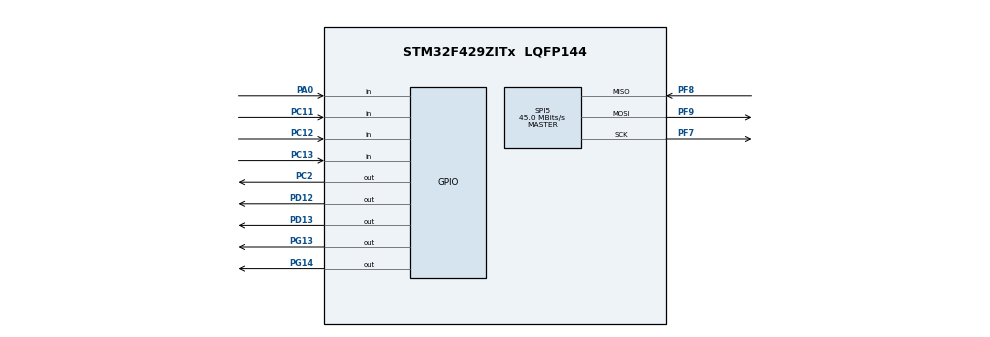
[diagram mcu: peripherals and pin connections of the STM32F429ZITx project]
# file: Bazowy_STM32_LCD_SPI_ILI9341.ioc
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Dma.Request0=SPI5_TX
Dma.SPI5_TX.0.Direction=DMA_MEMORY_TO_PERIPH
Dma.SPI5_TX.0.FIFOMode=DMA_FIFOMODE_DISABLE
Dma.SPI5_TX.0.Instance=DMA2_Stream4
Dma.SPI5_TX.0.MemDataAlignment=DMA_MDATAALIGN_BYTE
Dma.SPI5_TX.0.MemInc=DMA_MINC_ENABLE
Dma.SPI5_TX.0.Mode=DMA_CIRCULAR
Dma.SPI5_TX.0.PeriphDataAlignment=DMA_PDATAALIGN_BYTE
Dma.SPI5_TX.0.PeriphInc=DMA_PINC_DISABLE
Dma.SPI5_TX.0.Priority=DMA_PRIORITY_LOW
FREERTOS.BinarySemaphores01=BinarySem01,Dynamic,NULL
FREERTOS.Tasks01=LCD_Task,8,1664,StartLCDTask,Default,NULL,Dynamic,NULL,NULL;myTask04,16,128,StartTask04,Default,NULL,Dynamic,NULL,NULL;myTask05,17,128,StartTask05,Default,NULL,Dynamic,NULL,NULL;LCD_Task_cd,9,1664,StartLCDTask_cd,Default,NULL,Dynamic,NULL,NULL
FREERTOS.configUSE_NEWLIB_REENTRANT=1
Mcu.Family=STM32F4
Mcu.Name=STM32F429ZITx
Mcu.Package=LQFP144
NVIC.DMA2_Stream4_IRQn=true\:5\:0\:false\:false\:true\:true\:false\:true\:true
NVIC.PriorityGroup=NVIC_PRIORITYGROUP_4
PA0/WKUP.Signal=GPIO_Input
PA13.Mode=Serial_Wire
PA13.Signal=SYS_JTMS-SWDIO
PA14.Mode=Serial_Wire
PA14.Signal=SYS_JTCK-SWCLK
PC11.GPIO_PuPd=GPIO_PULLUP
PC11.Signal=GPIO_Input
PC12.GPIO_PuPd=GPIO_PULLUP
PC12.Signal=GPIO_Input
PC13.GPIO_PuPd=GPIO_PULLUP
PC13.Signal=GPIO_Input
PC2.GPIO_Speed=GPIO_SPEED_FREQ_VERY_HIGH
PC2.Signal=GPIO_Output
PD12.GPIO_Speed=GPIO_SPEED_FREQ_VERY_HIGH
PD12.Signal=GPIO_Output
PD13.GPIO_Speed=GPIO_SPEED_FREQ_VERY_HIGH
PD13.Signal=GPIO_Output
PF7.Mode=Full_Duplex_Master
PF7.Signal=SPI5_SCK
PF8.Mode=Full_Duplex_Master
PF8.Signal=SPI5_MISO
PF9.Mode=Full_Duplex_Master
PF9.Signal=SPI5_MOSI
PG13.Signal=GPIO_Output
PG14.Signal=GPIO_Output
PH0/OSC_IN.Mode=HSE-External-Oscillator
PH0/OSC_IN.Signal=RCC_OSC_IN
PH1/OSC_OUT.Mode=HSE-External-Oscillator
PH1/OSC_OUT.Signal=RCC_OSC_OUT
ProjectManager.HeapSize=0x200
ProjectManager.StackSize=0x400
ProjectManager.TargetToolchain=STM32CubeIDE
RCC.48MHZClocksFreq_Value=45000000
RCC.AHBFreq_Value=180000000
RCC.APB1CLKDivider=RCC_HCLK_DIV4
RCC.APB1Freq_Value=45000000
RCC.APB1TimFreq_Value=90000000
RCC.APB2CLKDivider=RCC_HCLK_DIV2
RCC.APB2Freq_Value=90000000
RCC.APB2TimFreq_Value=180000000
RCC.CortexFreq_Value=180000000
RCC.HCLKFreq_Value=180000000
RCC.HSE_VALUE=8000000
RCC.HSI_VALUE=16000000
RCC.LSE_VALUE=32768
RCC.PLLM=4
RCC.PLLN=180
RCC.PLLQ=8
RCC.PLLSourceVirtual=RCC_PLLSOURCE_HSE
RCC.SYSCLKFreq_VALUE=180000000
RCC.SYSCLKSource=RCC_SYSCLKSOURCE_PLLCLK
RCC.VCOOutputFreq_Value=360000000
SPI5.BaudRatePrescaler=SPI_BAUDRATEPRESCALER_2
SPI5.CalculateBaudRate=45.0 MBits/s
SPI5.Direction=SPI_DIRECTION_2LINES
SPI5.Mode=SPI_MODE_MASTER
SPI5.VirtualType=VM_MASTER
VP_FREERTOS_VS_CMSIS_V2.Mode=CMSIS_V2
VP_RNG_VS_RNG.Mode=RNG_Activate
board=custom

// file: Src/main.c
/* USER CODE BEGIN Header */
/**
  ******************************************************************************
  * @file           : main.c
  * @brief          : Main program body
  ******************************************************************************
  * @attention
  *
  * <h2><center>&copy; Copyright (c) 2020 STMicroelectronics.
  * All rights reserved.</center></h2>
  *
  * This software component is licensed by ST under BSD 3-Clause license,
  * the "License"; You may not use this file except in compliance with the
  * License. You may obtain a copy of the License at:
  *                        opensource.org/licenses/BSD-3-Clause
  *
  ******************************************************************************
  */
/* USER CODE END Header */
#include "main.h"
#include "cmsis_os.h"

/* USER CODE BEGIN Includes */
#include "ll_spi_ili9341.h"
#include "reg2.h"
#include "myfunctions.h"
/* USER CODE END Includes */

/* USER CODE BEGIN PD */
extern bool led_inited;
/* USER CODE END PD */

/* USER CODE BEGIN PM */
PID_s pid;
Inercja_s in3;
Inercja_s in4;
wykres_s entry;
wykres_s out;
float tp = 0.1;
int err = 0;
wykres_s errdr;
//extern const uint16_t jajko[57600];
/* USER CODE END PM */

/* Definitions for LCD_Task */
osThreadId_t LCD_TaskHandle;
const osThreadAttr_t LCD_Task_attributes = {
  .name = "LCD_Task",
  .stack_size = 1664 * 4,
  .priority = (osPriority_t) osPriorityLow,
};
/* Definitions for myTask04 */
osThreadId_t myTask04Handle;
const osThreadAttr_t myTask04_attributes = {
  .name = "myTask04",
  .stack_size = 128 * 4,
  .priority = (osPriority_t) osPriorityBelowNormal,
};
/* Definitions for myTask05 */
osThreadId_t myTask05Handle;
const osThreadAttr_t myTask05_attributes = {
  .name = "myTask05",
  .stack_size = 128 * 4,
  .priority = (osPriority_t) osPriorityBelowNormal1,
};
/* Definitions for LCD_Task_cd */
osThreadId_t LCD_Task_cdHandle;
const osThreadAttr_t LCD_Task_cd_attributes = {
  .name = "LCD_Task_cd",
  .stack_size = 1664 * 4,
  .priority = (osPriority_t) osPriorityLow1,
};
/* Definitions for BinarySem01 */
osSemaphoreId_t BinarySem01Handle;
const osSemaphoreAttr_t BinarySem01_attributes = {
  .name = "BinarySem01"
};
/* USER CODE BEGIN PV */
uint8_t DmaSpiCnt=1;

int x = 120, y = 160; // Skladowe x,y polozenia kwadratu
int x_old = 120, y_old = 160;
int dx = 1, dy = 1; // Skladowe wektora predkosci dx, dy

unsigned char *ptr;
unsigned char napis[] = {"Press the blue button..."};
int dl_n = 24;
unsigned int nx = 0;
unsigned int ny = 280;
unsigned int  key;

/* USER CODE END PV */

void SystemClock_Config(void);
static void MX_GPIO_Init(void);
static void MX_DMA_Init(void);
static void MX_RNG_Init(void);
static void MX_SPI5_Init(void);
void StartLCDTask(void *argument);
void StartTask04(void *argument);
void StartTask05(void *argument);
void StartLCDTask_cd(void *argument);

/* USER CODE BEGIN PFP */
void move_square_C(void);

/* USER CODE END PFP */

/* USER CODE BEGIN 0 */
void move_square_C(){
//Aktualizacja po│ozenia na podstawie wektora predkosci
		x+=dx;
		y+=dy;
//Ograniczenie obszaru poruszania kwadratem w obrebie LCD
		if (x <= 1 || x >= 240 - 34)
			dx = -dx;
		if (y <= 1 || y >= 320 - 34)
			dy = -dy;
}
//#define jajko_adres 0x0800F000
//void Flash_Write(void)
//{
//    // 1. Odblokowanie Flash
//    LL_FLASH_Unlock();
//
//    // 2. Kasowanie sektora (np. sektor 11 dla STM32F407 z 512KB Flash)
//    while (LL_FLASH_IsActiveFlag_BSY());
//    LL_FLASH_Erase_Sector(LL_FLASH_SECTOR_11, LL_FLASH_CURRENTPAGE);
//    while (LL_FLASH_IsActiveFlag_BSY());
//
//    // 3. Zapis słowa (32-bit)
//    LL_FLASH_Program(LL_FLASH_PROGRAM_WORD, s, DATA_32);
//    while (LL_FLASH_IsActiveFlag_BSY());
//
//    // 4. Zablokowanie Flash
//    LL_FLASH_Lock();
//}

/* USER CODE END 0 */

int main(void)
{
  /* USER CODE BEGIN 1 */

	ptr = napis;
  /* USER CODE END 1 */

  /* MCU Configuration--------------------------------------------------------*/

  /* Reset of all peripherals, Initializes the Flash interface and the Systick. */
  LL_APB2_GRP1_EnableClock(LL_APB2_GRP1_PERIPH_SYSCFG);
  LL_APB1_GRP1_EnableClock(LL_APB1_GRP1_PERIPH_PWR);

  /* System interrupt init*/
  NVIC_SetPriorityGrouping(NVIC_PRIORITYGROUP_4);

  /* PendSV_IRQn interrupt configuration */
  NVIC_SetPriority(PendSV_IRQn, NVIC_EncodePriority(NVIC_GetPriorityGrouping(),15, 0));
  /* SysTick_IRQn interrupt configuration */
  NVIC_SetPriority(SysTick_IRQn, NVIC_EncodePriority(NVIC_GetPriorityGrouping(),15, 0));

  /* Configure the system clock */
  SystemClock_Config();

  /* Initialize all configured peripherals */
  MX_GPIO_Init();
  MX_DMA_Init();
  MX_RNG_Init();
  MX_SPI5_Init();
  /* USER CODE BEGIN 2 */
  LL_DMA_DisableStream(DMA2, LL_DMA_STREAM_4);
  LL_DMA_ClearFlag_TC4(DMA2);
  LL_DMA_ClearFlag_TE4(DMA2);
  LL_SPI_EnableDMAReq_TX(SPI5);
  LL_DMA_EnableIT_TC(DMA2, LL_DMA_STREAM_4);
  LL_DMA_EnableIT_TE(DMA2, LL_DMA_STREAM_4);
  LL_SPI_Enable(SPI5);

  /* USER CODE END 2 */

  /* Init scheduler */
  osKernelInitialize();

  /* Create the semaphores(s) */
  /* creation of BinarySem01 */
  BinarySem01Handle = osSemaphoreNew(1, 1, &BinarySem01_attributes);

  /* Create the thread(s) */
  /* creation of LCD_Task */
  LCD_TaskHandle = osThreadNew(StartLCDTask, NULL, &LCD_Task_attributes);

  /* creation of myTask04 */
  myTask04Handle = osThreadNew(StartTask04, NULL, &myTask04_attributes);

  /* creation of myTask05 */
  myTask05Handle = osThreadNew(StartTask05, NULL, &myTask05_attributes);

  /* creation of LCD_Task_cd */
  LCD_Task_cdHandle = osThreadNew(StartLCDTask_cd, NULL, &LCD_Task_cd_attributes);

  /* Start scheduler */
  osKernelStart();

  /* We should never get here as control is now taken by the scheduler */
  /* Infinite loop */
  while (1)
  {

  }
}

void SystemClock_Config(void)
{
  LL_FLASH_SetLatency(LL_FLASH_LATENCY_5);
  while(LL_FLASH_GetLatency()!= LL_FLASH_LATENCY_5)
  {
  }
  LL_PWR_SetRegulVoltageScaling(LL_PWR_REGU_VOLTAGE_SCALE1);
  LL_PWR_EnableOverDriveMode();
  LL_RCC_HSE_Enable();

   /* Wait till HSE is ready */
  while(LL_RCC_HSE_IsReady() != 1)
  {

  }
  LL_RCC_PLL_ConfigDomain_SYS(LL_RCC_PLLSOURCE_HSE, LL_RCC_PLLM_DIV_4, 180, LL_RCC_PLLP_DIV_2);
  LL_RCC_PLL_ConfigDomain_48M(LL_RCC_PLLSOURCE_HSE, LL_RCC_PLLM_DIV_4, 180, LL_RCC_PLLQ_DIV_8);
  LL_RCC_PLL_Enable();

   /* Wait till PLL is ready */
  while(LL_RCC_PLL_IsReady() != 1)
  {

  }
  LL_RCC_SetAHBPrescaler(LL_RCC_SYSCLK_DIV_1);
  LL_RCC_SetAPB1Prescaler(LL_RCC_APB1_DIV_4);
  LL_RCC_SetAPB2Prescaler(LL_RCC_APB2_DIV_2);
  LL_RCC_SetSysClkSource(LL_RCC_SYS_CLKSOURCE_PLL);

   /* Wait till System clock is ready */
  while(LL_RCC_GetSysClkSource() != LL_RCC_SYS_CLKSOURCE_STATUS_PLL)
  {

  }
  LL_Init1msTick(180000000);
  LL_SetSystemCoreClock(180000000);
  LL_RCC_SetTIMPrescaler(LL_RCC_TIM_PRESCALER_TWICE);
}

static void MX_RNG_Init(void)
{

  /* Peripheral clock enable */
  LL_AHB2_GRP1_EnableClock(LL_AHB2_GRP1_PERIPH_RNG);

  LL_RNG_Enable(RNG);

}

static void MX_SPI5_Init(void)
{

  LL_SPI_InitTypeDef SPI_InitStruct = {0};

  LL_GPIO_InitTypeDef GPIO_InitStruct = {0};

  /* Peripheral clock enable */
  LL_APB2_GRP1_EnableClock(LL_APB2_GRP1_PERIPH_SPI5);

  LL_AHB1_GRP1_EnableClock(LL_AHB1_GRP1_PERIPH_GPIOF);
  /**SPI5 GPIO Configuration
  PF7   ------> SPI5_SCK
  PF8   ------> SPI5_MISO
  PF9   ------> SPI5_MOSI
  */
  GPIO_InitStruct.Pin = LL_GPIO_PIN_7|LL_GPIO_PIN_8|LL_GPIO_PIN_9;
  GPIO_InitStruct.Mode = LL_GPIO_MODE_ALTERNATE;
  GPIO_InitStruct.Speed = LL_GPIO_SPEED_FREQ_VERY_HIGH;
  GPIO_InitStruct.OutputType = LL_GPIO_OUTPUT_PUSHPULL;
  GPIO_InitStruct.Pull = LL_GPIO_PULL_NO;
  GPIO_InitStruct.Alternate = LL_GPIO_AF_5;
  LL_GPIO_Init(GPIOF, &GPIO_InitStruct);

  /* SPI5 DMA Init */

  /* SPI5_TX Init */
  LL_DMA_SetChannelSelection(DMA2, LL_DMA_STREAM_4, LL_DMA_CHANNEL_2);

  LL_DMA_SetDataTransferDirection(DMA2, LL_DMA_STREAM_4, LL_DMA_DIRECTION_MEMORY_TO_PERIPH);

  LL_DMA_SetStreamPriorityLevel(DMA2, LL_DMA_STREAM_4, LL_DMA_PRIORITY_LOW);

  LL_DMA_SetMode(DMA2, LL_DMA_STREAM_4, LL_DMA_MODE_CIRCULAR);

  LL_DMA_SetPeriphIncMode(DMA2, LL_DMA_STREAM_4, LL_DMA_PERIPH_NOINCREMENT);

  LL_DMA_SetMemoryIncMode(DMA2, LL_DMA_STREAM_4, LL_DMA_MEMORY_INCREMENT);

  LL_DMA_SetPeriphSize(DMA2, LL_DMA_STREAM_4, LL_DMA_PDATAALIGN_BYTE);

  LL_DMA_SetMemorySize(DMA2, LL_DMA_STREAM_4, LL_DMA_MDATAALIGN_BYTE);

  LL_DMA_DisableFifoMode(DMA2, LL_DMA_STREAM_4);

  /* SPI5 parameter configuration*/
  SPI_InitStruct.TransferDirection = LL_SPI_FULL_DUPLEX;
  SPI_InitStruct.Mode = LL_SPI_MODE_MASTER;
  SPI_InitStruct.DataWidth = LL_SPI_DATAWIDTH_8BIT;
  SPI_InitStruct.ClockPolarity = LL_SPI_POLARITY_LOW;
  SPI_InitStruct.ClockPhase = LL_SPI_PHASE_1EDGE;
  SPI_InitStruct.NSS = LL_SPI_NSS_SOFT;
  SPI_InitStruct.BaudRate = LL_SPI_BAUDRATEPRESCALER_DIV2;
  SPI_InitStruct.BitOrder = LL_SPI_MSB_FIRST;
  SPI_InitStruct.CRCCalculation = LL_SPI_CRCCALCULATION_DISABLE;
  SPI_InitStruct.CRCPoly = 10;
  LL_SPI_Init(SPI5, &SPI_InitStruct);
  LL_SPI_SetStandard(SPI5, LL_SPI_PROTOCOL_MOTOROLA);

}

static void MX_DMA_Init(void)
{

  /* Init with LL driver */
  /* DMA controller clock enable */
  LL_AHB1_GRP1_EnableClock(LL_AHB1_GRP1_PERIPH_DMA2);

  /* DMA interrupt init */
  /* DMA2_Stream4_IRQn interrupt configuration */
  NVIC_SetPriority(DMA2_Stream4_IRQn, NVIC_EncodePriority(NVIC_GetPriorityGrouping(),5, 0));
  NVIC_EnableIRQ(DMA2_Stream4_IRQn);

}

static void MX_GPIO_Init(void)
{
  LL_GPIO_InitTypeDef GPIO_InitStruct = {0};

  /* GPIO Ports Clock Enable */
  LL_AHB1_GRP1_EnableClock(LL_AHB1_GRP1_PERIPH_GPIOC);
  LL_AHB1_GRP1_EnableClock(LL_AHB1_GRP1_PERIPH_GPIOF);
  LL_AHB1_GRP1_EnableClock(LL_AHB1_GRP1_PERIPH_GPIOH);
  LL_AHB1_GRP1_EnableClock(LL_AHB1_GRP1_PERIPH_GPIOA);
  LL_AHB1_GRP1_EnableClock(LL_AHB1_GRP1_PERIPH_GPIOD);
  LL_AHB1_GRP1_EnableClock(LL_AHB1_GRP1_PERIPH_GPIOG);

  /**/
  LL_GPIO_ResetOutputPin(GPIOC, LL_GPIO_PIN_2);

  /**/
  LL_GPIO_ResetOutputPin(GPIOD, LL_GPIO_PIN_12|LL_GPIO_PIN_13);

  /**/
  LL_GPIO_ResetOutputPin(GPIOG, LL_GPIO_PIN_13|LL_GPIO_PIN_14);

  /**/
  GPIO_InitStruct.Pin = LL_GPIO_PIN_13|LL_GPIO_PIN_11|LL_GPIO_PIN_12;
  GPIO_InitStruct.Mode = LL_GPIO_MODE_INPUT;
  GPIO_InitStruct.Pull = LL_GPIO_PULL_UP;
  LL_GPIO_Init(GPIOC, &GPIO_InitStruct);

  /**/
  GPIO_InitStruct.Pin = LL_GPIO_PIN_2;
  GPIO_InitStruct.Mode = LL_GPIO_MODE_OUTPUT;
  GPIO_InitStruct.Speed = LL_GPIO_SPEED_FREQ_VERY_HIGH;
  GPIO_InitStruct.OutputType = LL_GPIO_OUTPUT_PUSHPULL;
  GPIO_InitStruct.Pull = LL_GPIO_PULL_NO;
  LL_GPIO_Init(GPIOC, &GPIO_InitStruct);

  /**/
  GPIO_InitStruct.Pin = LL_GPIO_PIN_0;
  GPIO_InitStruct.Mode = LL_GPIO_MODE_INPUT;
  GPIO_InitStruct.Pull = LL_GPIO_PULL_NO;
  LL_GPIO_Init(GPIOA, &GPIO_InitStruct);

  /**/
  GPIO_InitStruct.Pin = LL_GPIO_PIN_12|LL_GPIO_PIN_13;
  GPIO_InitStruct.Mode = LL_GPIO_MODE_OUTPUT;
  GPIO_InitStruct.Speed = LL_GPIO_SPEED_FREQ_VERY_HIGH;
  GPIO_InitStruct.OutputType = LL_GPIO_OUTPUT_PUSHPULL;
  GPIO_InitStruct.Pull = LL_GPIO_PULL_NO;
  LL_GPIO_Init(GPIOD, &GPIO_InitStruct);

  /**/
  GPIO_InitStruct.Pin = LL_GPIO_PIN_13|LL_GPIO_PIN_14;
  GPIO_InitStruct.Mode = LL_GPIO_MODE_OUTPUT;
  GPIO_InitStruct.Speed = LL_GPIO_SPEED_FREQ_LOW;
  GPIO_InitStruct.OutputType = LL_GPIO_OUTPUT_PUSHPULL;
  GPIO_InitStruct.Pull = LL_GPIO_PULL_NO;
  LL_GPIO_Init(GPIOG, &GPIO_InitStruct);

}

/* USER CODE BEGIN 4 */
void DMA1_Stream4_TransferComplete(void)
{
  LL_DMA_ClearFlag_TC4(DMA2);
  DmaSpiCnt--;

  if(DmaSpiCnt == 0)
  {
    LL_DMA_DisableStream(DMA2, LL_DMA_STREAM_4);
    DmaSpiCnt=1;
    CS_DESELECT();
  }
}
/* USER CODE END 4 */

void StartLCDTask(void *argument)
{
  /* USER CODE BEGIN 5 */
	TFTDisplay_ILI9341_Initialization(240, 320);
    TFTDisplay_ILI9341_SetRotation(2);
    led_inited = true;

	  TFTDisplay_ILI9341_DrawLine(0, 20, 240, 20, TFT_COLOR_ILI9341_RED);

	while(!(GPIOA -> IDR & 0x0001)) //sprawdzanie klawisza pod PA0
	{
		osDelay(2);					//aby nie blokować innych tasków
	}

	/* Infinite loop */
	for(;;)
	{
//		for(int i=0; i< 10; i++)
//		  {
//			if(i < 3){
//				Draw_image3(jajko1, 0);
//				osDelay(100);
//			}else if(i<6){
//				Draw_image3(jajko2, 1);
//				osDelay(100);
//			}else{
////				Draw_image3(jajko3, 2);
//				osDelay(100);
//			}
//			  Draw_image2(test);

//			  Draw_image3(jajko3, 2);
//			  Draw_image3(jajko4, 3);
//			  Draw_image3(jajko5, 4);

			  // TFTDisplay_ILI9341_DrawChar(100, 100, 0x30 + i);
//			   TFTDisplay_ILI9341_DrawChar(100, 120, 0x31); //według fizyki czarnej dziury tu to działa
//			  int real_temp = (int)output;
//			  int exp_temp = (int)expected;
//			  bool window = false;
//			  Draw_info((int)in4.output * 10, (int)pid.expected * 10, true);
//		TFTDisplay_ILI9341_FillRect(2, 71, 230, 140, 0x001F);
//		osDelay(100);
//		TFTDisplay_ILI9341_DrawLine(2, 71, 230, 140, 0x001F);

		osDelay(100);
//		  }

	}
  /* USER CODE END 5 */
}

void StartTask04(void *argument)
{
  /* USER CODE BEGIN StartTask04 */

  /* Infinite loop */
  for(;;)
  {
	    if(!(GPIOC -> IDR & 0x0800)){
	    	if(pid.expected < 50){
	    		pid.expected += 0.1;
	    		pid.expected_i = (int)(10 * pid.expected);
	    	}
	        TFTDisplay_ILI9341_DrawChar(100, 150, 0x31);
	        osDelay(40);
	    }
	    if(!(GPIOC -> IDR & 0x1000)){
	    	if(pid.expected >0){
	    		pid.expected -= 0.1;
	    		pid.expected_i = (int)(10 * pid.expected);
	    	}

	        TFTDisplay_ILI9341_DrawChar(100, 150, 0x32);
	        osDelay(40);
	    }
	    if(!(GPIOC -> IDR & 0x2000)){
	    	TFTDisplay_ILI9341_DrawChar(100, 150, 0x30);
//	    	TFTDisplay_ILI9341_DrawChar(100, 120, 0x31); //według fizyki czarnej dziury tu to działa
	    }
//	    if (lcdprop.pFont != NULL && lcdprop.pFont->table != NULL) { //chat idea
//	        TFTDisplay_ILI9341_DrawChar(100, 120, 0x31);
//	    }
//		TFTDisplay_ILI9341_DrawChar(100, 120, 0x31); //według fizyki czarnej dziury tu to nie działa

	    osDelay(10);

  }
  /* USER CODE END StartTask04 */
}

void StartTask05(void *argument)
{
  /* USER CODE BEGIN StartTask05 */
	   // PID_s_init(&pid, 10, 3, 0.9, tp);
	    PID_s_init(&pid, 6.0, 5.6, 0.8, tp);
	    Inercja_s_init(&in3, 1, tp, 5);
	    Inercja_s_init(&in4, 2, tp, 10);
	    pid.expected = 18;
	    in3.last_input = 17.5;
	    in4.last_input = 17.5;
	    in4.output = 17.5;
	  /* Infinite loop */
	  for(;;)
	  {
//		printf("%d.\t", i);
		pid.input = in4.output;
		Reg_s_step(&pid);
		//output = pid.output;
		in3.input = pid.output;
		Inercja_s_step(&in3);
		in4.input = in3.output;
		Inercja_s_step(&in4);
		Draw_info((int)(in4.output * 10), (int)(pid.expected * 10), false);
		err = abs(pid.expected_i - in4.output_i);
		wykres_draw(&entry);
		wykres_draw(&out);
		wykres_draw(&errdr);
//	    Draw_info(104, 152, false);

		osDelay(50);

	  }
  /* USER CODE END StartTask05 */
}

void StartLCDTask_cd(void *argument)
{
  /* USER CODE BEGIN StartLCDTask_cd */
	wykres_init(&entry, "in", &pid.expected_i, 0, 0xF800);
	wykres_init(&out, "out", &in4.output_i, 0, 0x001F);
	wykres_init(&errdr, "err", &err, 0, 0x07E0);
  /* Infinite loop */
  for(;;)
  {
		if(in4.output_i < 100){
			TFTDisplay_ILI9341_FillRect(100, 280, 140, 320, TFT_COLOR_ILI9341_PURPLE);
		}else if (in4.output_i < 200){
			TFTDisplay_ILI9341_FillRect(100, 280, 140, 320, TFT_COLOR_ILI9341_GREEN);
		}else if(in4.output_i < 300){
			TFTDisplay_ILI9341_FillRect(100, 280, 140, 320, TFT_COLOR_ILI9341_BLUE);
		}else if(in4.output_i < 400){
			TFTDisplay_ILI9341_FillRect(100, 280, 140, 320, TFT_COLOR_ILI9341_GREEN);
		}else{
			TFTDisplay_ILI9341_FillRect(100, 280, 140, 320, TFT_COLOR_ILI9341_PURPLE);
		}
	TFTDisplay_ILI9341_FillRect(20, 21, 238, 119, 0xFFFF);
	wykres_show(&entry);
	wykres_show(&out);
	wykres_show(&errdr);
//	TFTDisplay_ILI9341_FillRect(100, 260, 140, 300, TFT_COLOR_ILI9341_PURPLE);

    osDelay(30);
  }
  /* USER CODE END StartLCDTask_cd */
}

void Error_Handler(void)
{
}
